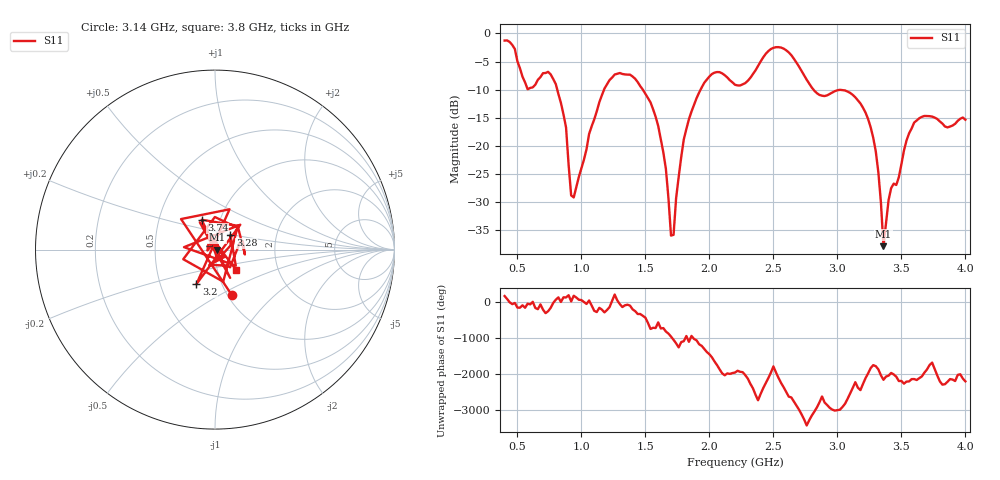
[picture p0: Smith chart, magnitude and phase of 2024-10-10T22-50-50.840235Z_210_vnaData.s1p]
! Created with skrf (http://scikit-rf.org).
# Hz S RI R 50.0
!freq ReS11 ImS11
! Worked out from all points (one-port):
!   181 points, 400 MHz to 4 GHz, reference 50 ohm
!   lowest |S11| = -37.8 dB at 3.36 GHz (marker M1), VSWR 1.03, Z = 51.3 - j0.0891 ohm
!   |S11| at or under -10 dB: 811.4 MHz to 1.177 GHz (365.3 MHz wide, 36.8 % of centre); 1.48 GHz to 1.931 GHz (450.7 MHz wide, 26.4 % of centre); 2.814 GHz to end of sweep
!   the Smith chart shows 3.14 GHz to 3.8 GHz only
!   S11 on the Smith chart (normalised r, x): 3.14 GHz: 1.05, -0.57; 3.2 GHz: 0.76, -0.31; 3.28 GHz: 1.17, +0.19; 3.74 GHz: 0.82, +0.28; 3.8 GHz: 1.23, -0.29
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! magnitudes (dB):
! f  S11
! 400 MHz  -1.3
! 580 MHz  -9.9
! 760 MHz  -7.3
! 860 MHz  -14.4
! 940 MHz  -29.1
! 1.16 GHz  -11.0
! 1.3 GHz  -7.0
! 1.58 GHz  -14.8
! 1.66 GHz  -24.1
! 1.7 GHz  -35.9
! 1.76 GHz  -25.5
! 1.84 GHz  -15.2
! 1.96 GHz  -8.8
! 2.2 GHz  -9.1
! 2.5 GHz  -2.6
! 2.66 GHz  -4.5
! 2.86 GHz  -10.9
! 3.1 GHz  -10.6
! 3.14 GHz  -11.4
! 3.2 GHz  -13.2
! 3.28 GHz  -18.5
! 3.32 GHz  -24.7
! 3.36 GHz  -37.8
! 3.42 GHz  -27.5
! 3.56 GHz  -17.8
! 3.74 GHz  -14.8
! 3.8 GHz  -15.6
! 4 GHz  -15.3
